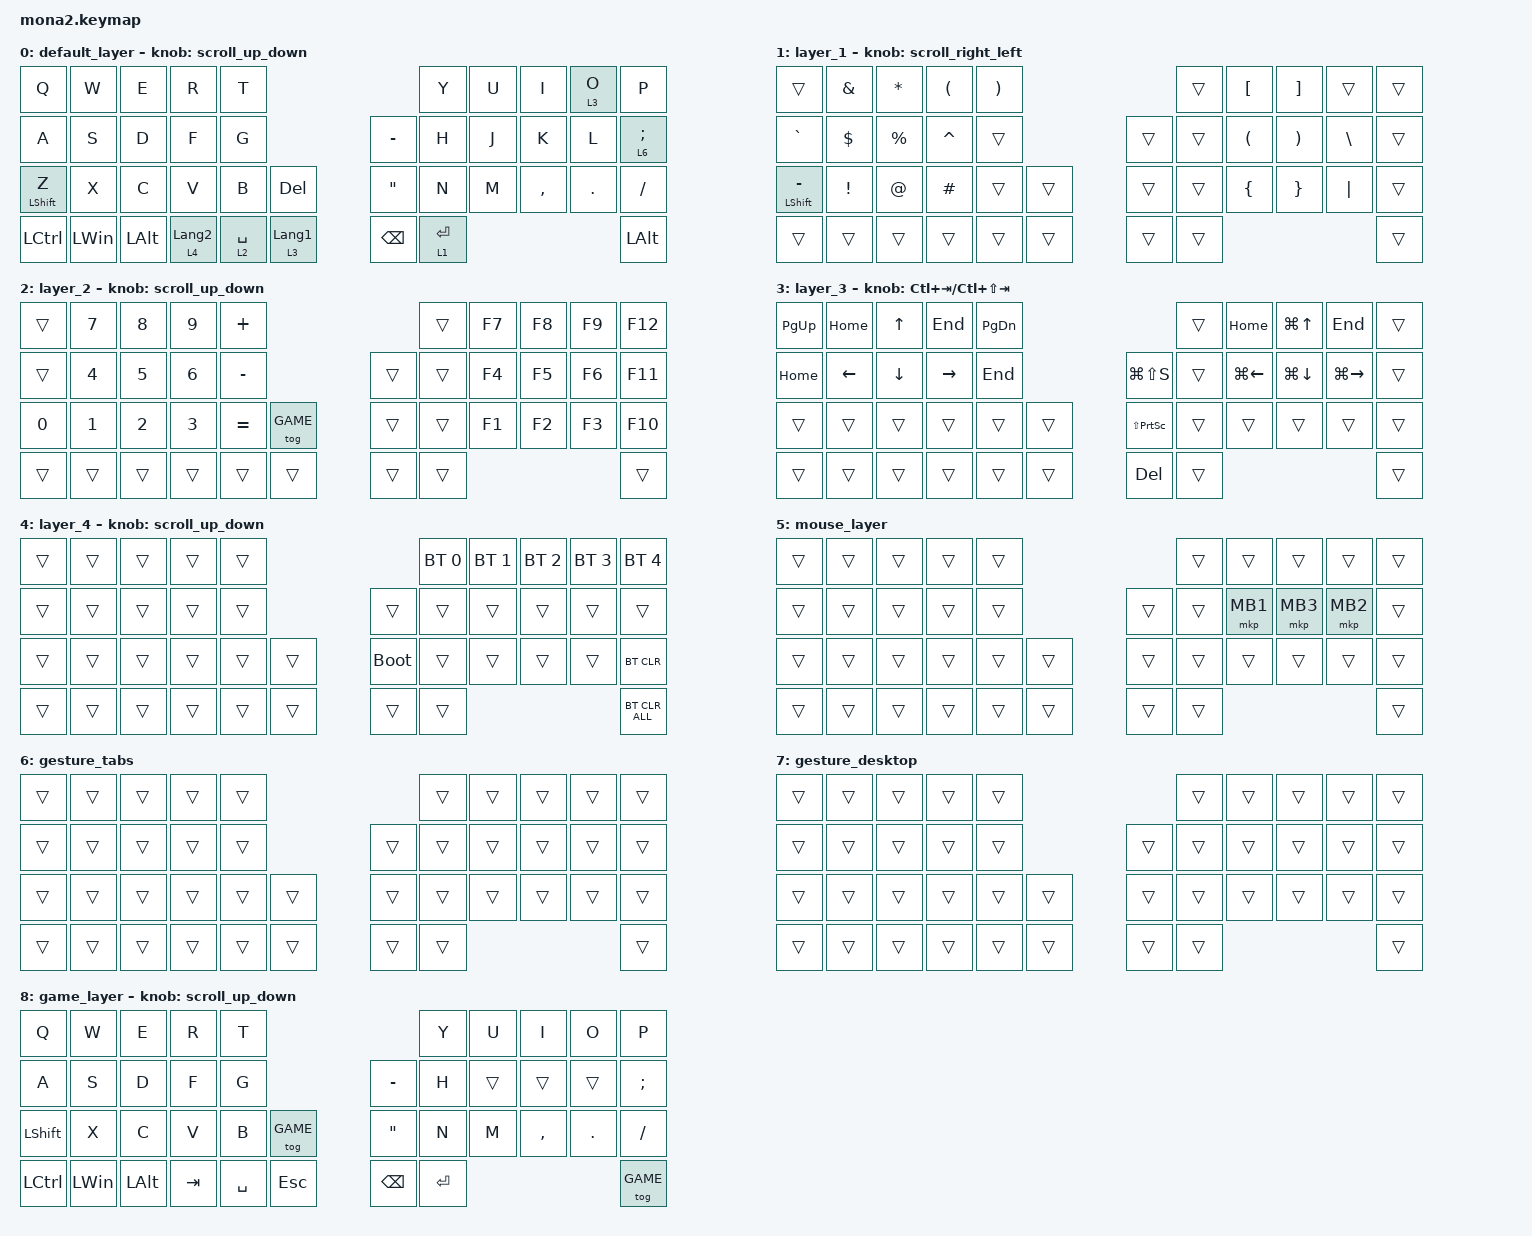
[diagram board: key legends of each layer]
#include <input/processors.dtsi>
#include <dt-bindings/zmk/input_transform.h>
#include <zephyr/dt-bindings/input/input-event-codes.h>
#include <behaviors.dtsi>
#include <dt-bindings/zmk/bt.h>
#include <dt-bindings/zmk/keys.h>
#include <dt-bindings/zmk/pointing.h>
#include <mouse-gesture.dtsi>

#define GAME 8

#define ZMK_POINTING_DEFAULT_SCRL_VAL 100

&mt {
    flavor = "balanced";
    quick-tap-ms = <0>;
};

&lt {
    quick-tap-ms = <300>;
    flavor = "balanced";
};

// ① タブ操作ジェスチャー（; 長押し中）
&zip_mouse_gesture {
    stroke-size = <200>;
    enable-eager-mode;
    always-active;
    suppress-movement;

    tab_previous {
        pattern = <GESTURE_LEFT>;
        bindings = <&kp LC(LS(TAB))>;
    };

    tab_next {
        pattern = <GESTURE_RIGHT>;
        bindings = <&kp LC(TAB)>;
    };

    new_tab {
        pattern = <GESTURE_UP>;
        bindings = <&kp LC(T)>;
    };

    close_tab {
        pattern = <GESTURE_DOWN>;
        bindings = <&kp LC(W)>;
    };
};

/ {
    // ② デスクトップ操作ジェスチャー（O+P 長押し中）
    zip_mouse_gesture_desktop: zip_mouse_gesture_desktop {
        compatible = "zmk,input-processor-mouse-gesture";
        #input-processor-cells = <0>;
        stroke-size = <200>;
        enable-eager-mode;
        always-active;
        suppress-movement;

        desktop_previous {
            pattern = <GESTURE_LEFT>;
            bindings = <&kp LG(LC(LEFT_ARROW))>;
        };

        desktop_next {
            pattern = <GESTURE_RIGHT>;
            bindings = <&kp LG(LC(RIGHT_ARROW))>;
        };

        task_view {
            pattern = <GESTURE_UP>;
            bindings = <&kp LG(TAB)>;
        };

        move_window_to_next_desktop {
            pattern = <GESTURE_DOWN>;
            bindings = <&kp LG(LC(LS(RIGHT_ARROW)))>;
        };
    };
    combos {
        compatible = "zmk,combos";

        layer4_ESC {
            bindings = <&lt 4 ESC>;
            key-positions = <39 38>;
            layers = <0 1 2 3 4 5 6 7>;
        };

        tab {
            bindings = <&kp TAB>;
            key-positions = <11 12>;
            layers = <0 1 2 3 4 5 6 7>;
        };

        esc {
            bindings = <&kp ESC>;
            key-positions = <0 1>;
            layers = <0 1 2 3 4 5 6 7>;
        };

        // O+P：タップで Alt+Tab、長押しでデスクトップ操作ジェスチャー
        alt_tab_gesture {
            bindings = <&lt 7 LA(TAB)>;
            key-positions = <8 9>;
            layers = <0>;
            timeout-ms = <40>;
            require-prior-idle-ms = <150>;
        };
    };

    behaviors {
        // O: タップでO、長押しでレイヤー3（トラックボールでスクロール）
        lt_o: lt_o {
            compatible = "zmk,behavior-hold-tap";
            #binding-cells = <2>;
            bindings = <&mo>, <&kp>;

            flavor = "balanced";
            tapping-term-ms = <200>;
            quick-tap-ms = <300>;
            // 直前のキーから150ms以内に押したOは必ずOとして扱う（タイピング中の誤作動防止）
            require-prior-idle-ms = <150>;
            // Oを押したまま左手のキーを押した場合だけ長押し（レイヤー3）と判定する
            hold-trigger-key-positions = <0 1 2 3 4 10 11 12 13 14 21 22 23 24 25 26 33 34 35 36 37 38>;
        };

        // ;：タップで ;、長押しでタブ操作ジェスチャー
        lt_semi: lt_semi {
            compatible = "zmk,behavior-hold-tap";
            #binding-cells = <2>;
            bindings = <&mo>, <&kp>;

            flavor = "balanced";
            tapping-term-ms = <200>;
            quick-tap-ms = <300>;
            require-prior-idle-ms = <150>;
            hold-trigger-key-positions = <0 1 2 3 4 10 11 12 13 14 21 22 23 24 25 26 33 34 35 36 37 38>;
        };

        scroll_up_down: mouse_wheel_up_down {
            compatible = "zmk,behavior-sensor-rotate";
            #sensor-binding-cells = <0>;
            bindings = <&msc SCRL_DOWN>, <&msc SCRL_UP>;

            tap-ms = <20>;
        };

        scroll_right_left: mouse_wheel_right_left {
            compatible = "zmk,behavior-sensor-rotate";
            #sensor-binding-cells = <0>;
            bindings = <&msc SCRL_LEFT>, <&msc SCRL_RIGHT>;

            tap-ms = <20>;
        };
    };

    keymap {
        compatible = "zmk,keymap";

        default_layer {
            bindings = <
&kp Q             &kp W         &kp E         &kp R             &kp T                                               &kp Y        &kp U  &kp I      &lt_o 3 O  &kp P
&kp A             &kp S         &kp D         &kp F             &kp G                            &kp MINUS          &kp H        &kp J  &kp K      &kp L    &lt_semi 6 SEMICOLON
&mt LEFT_SHIFT Z  &kp X         &kp C         &kp V             &kp B        &kp DELETE          &kp DOUBLE_QUOTES  &kp N        &kp M  &kp COMMA  &kp DOT  &kp SLASH
&kp LCTRL         &kp LEFT_WIN  &kp LEFT_ALT  &lt 4 LANGUAGE_2  &lt 2 SPACE  &lt 3 LANGUAGE_1    &kp BACKSPACE      &lt 1 ENTER                             &kp LEFT_ALT
            >;

            sensor-bindings = <&scroll_up_down>;
        };

        layer_1 {
            bindings = <
&trans                   &kp AMPERSAND    &kp ASTERISK  &kp LPAR   &kp RPAR                                &trans  &kp LBKT  &kp RBKT  &trans     &trans
&kp GRAVE                &kp DOLLAR       &kp PERCENT   &kp CARET  &trans                  &trans          &trans  &kp LPAR  &kp RPAR  &kp BSLH   &trans
&mt LEFT_SHIFT MINUS     &kp EXCLAMATION  &kp AT_SIGN   &kp HASH   &trans     &trans       &trans          &trans  &kp LBRC  &kp RBRC  &kp PIPE   &trans
&trans                   &trans           &trans        &trans     &trans     &trans       &trans          &trans                                &trans
            >;

            sensor-bindings = <&scroll_right_left>;
        };

        layer_2 {
            bindings = <
&trans  &kp N7  &kp N8  &kp N9  &kp PLUS                     &trans  &kp F7  &kp F8  &kp F9  &kp F12
&trans  &kp N4  &kp N5  &kp N6  &kp MINUS            &trans  &trans  &kp F4  &kp F5  &kp F6  &kp F11
&kp N0  &kp N1  &kp N2  &kp N3  &kp EQUAL  &tog GAME &trans  &trans  &kp F1  &kp F2  &kp F3  &kp F10
&trans  &trans  &trans  &trans  &trans     &trans    &trans  &trans                          &trans
            >;

            sensor-bindings = <&scroll_up_down>;
        };

        layer_3 {
            bindings = <
&kp PG_UP  &kp HOME        &kp UP_ARROW    &kp END          &kp PG_DN                                  &trans  &kp HOME          &kp LG(UP_ARROW)    &kp END            &trans
&kp HOME   &kp LEFT_ARROW  &kp DOWN_ARROW  &kp RIGHT_ARROW  &kp END                &kp LG(LS(S))       &trans  &kp LG(LEFT_ARROW)  &kp LG(DOWN_ARROW)  &kp LG(RIGHT_ARROW)  &trans
&trans     &trans          &trans          &trans           &trans     &trans      &kp LS(PSCRN)       &trans  &trans            &trans              &trans             &trans
&trans     &trans          &trans          &trans           &trans     &trans      &kp DELETE          &trans                                                         &trans
            >;

            sensor-bindings = <&inc_dec_kp LC(TAB) LC(LS(TAB))>;
        };

        layer_4 {
            bindings = <
&trans  &trans  &trans  &trans  &trans                         &bt BT_SEL 0  &bt BT_SEL 1  &bt BT_SEL 2  &bt BT_SEL 3  &bt BT_SEL 4
&trans  &trans  &trans  &trans  &trans            &trans       &trans        &trans        &trans        &trans        &trans
&trans  &trans  &trans  &trans  &trans  &trans    &bootloader  &trans        &trans        &trans        &trans        &bt BT_CLR
&trans  &trans  &trans  &trans  &trans  &trans    &trans       &trans                                                  &bt BT_CLR_ALL
            >;

            sensor-bindings = <&scroll_up_down>;
        };

        mouse_layer {
            bindings = <
&trans  &trans  &trans  &trans  &trans                    &trans  &trans    &trans    &trans    &trans
&trans  &trans  &trans  &trans  &trans            &trans  &trans  &mkp MB1  &mkp MB3  &mkp MB2  &trans
&trans  &trans  &trans  &trans  &trans  &trans    &trans  &trans  &trans    &trans    &trans    &trans
&trans  &trans  &trans  &trans  &trans  &trans    &trans  &trans                                &trans
            >;
        };

        gesture_tabs {
            bindings = <
&trans  &trans  &trans  &trans  &trans                    &trans  &trans  &trans  &trans  &trans
&trans  &trans  &trans  &trans  &trans            &trans  &trans  &trans  &trans  &trans  &trans
&trans  &trans  &trans  &trans  &trans  &trans    &trans  &trans  &trans  &trans  &trans  &trans
&trans  &trans  &trans  &trans  &trans  &trans    &trans  &trans                          &trans
            >;
        };

        gesture_desktop {
            bindings = <
&trans  &trans  &trans  &trans  &trans                    &trans  &trans  &trans  &trans  &trans
&trans  &trans  &trans  &trans  &trans            &trans  &trans  &trans  &trans  &trans  &trans
&trans  &trans  &trans  &trans  &trans  &trans    &trans  &trans  &trans  &trans  &trans  &trans
&trans  &trans  &trans  &trans  &trans  &trans    &trans  &trans                          &trans
            >;
        };

        // ゲームレイヤー：長押し機能・同時押しなし。Space長押し＋=の右で入る／同じ位置か右下で戻る
        game_layer {
            bindings = <
&kp Q          &kp W         &kp E         &kp R    &kp T                                       &kp Y    &kp U  &kp I      &kp O    &kp P
&kp A          &kp S         &kp D         &kp F    &kp G                         &kp MINUS     &kp H    &trans &trans     &trans   &kp SEMICOLON
&kp LEFT_SHIFT &kp X         &kp C         &kp V    &kp B      &tog GAME          &kp DOUBLE_QUOTES &kp N &kp M  &kp COMMA  &kp DOT  &kp SLASH
&kp LCTRL      &kp LEFT_WIN  &kp LEFT_ALT  &kp TAB  &kp SPACE  &kp ESC            &kp BACKSPACE &kp ENTER                           &tog GAME
            >;

            sensor-bindings = <&scroll_up_down>;
        };
    };
};
